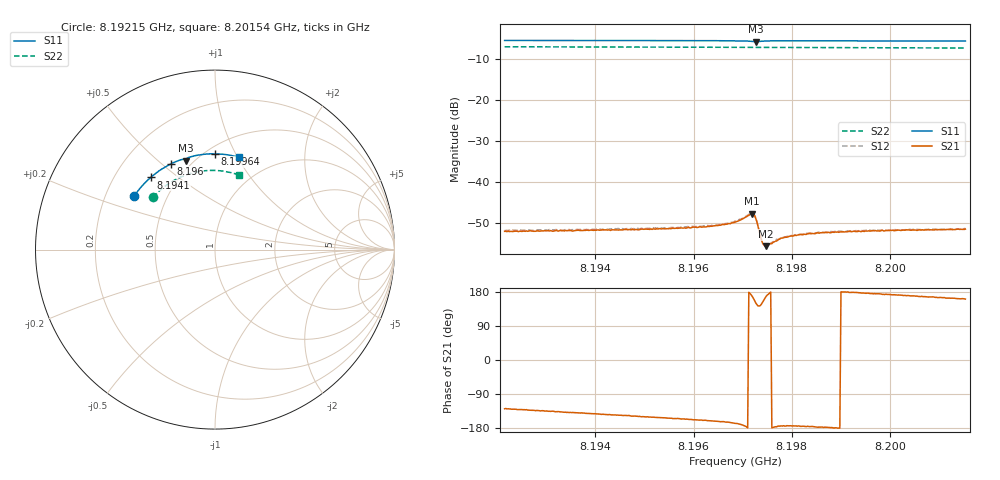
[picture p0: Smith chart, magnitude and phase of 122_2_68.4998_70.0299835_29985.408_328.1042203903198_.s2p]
#  HZ  S  RI  R  50.00
! Rohde & Schwarz Vector Network Analyzer
! Rohde-Schwarz,ZNB20-2Port,1311601062101988,3.16
! Created: UTC 3/20/2024, 4:54:01 PM
! freq[Hz]  re:S11  im:S11  re:S21  im:S21  re:S12  im:S12  re:S22  im:S22
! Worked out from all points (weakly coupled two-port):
!   401 points, 8.19215 GHz to 8.20154 GHz, reference 50 ohm
!   highest |S21| = -47.80 dB at 8.1972 GHz (marker M1); lowest = -55.7 dB at 8.19748 GHz (marker M2)
!   lowest |S11| = -5.7 dB at 8.19727 GHz (marker M3), VSWR 3.18, Z = 22.9 + j31.1 ohm
!   |S11| at or under -10 dB: nowhere
!   |S22| runs from -7.2 to -6.9 dB; largest |S21 - S12| = 0.00022
!   S11 on the Smith chart (normalised r, x): 8.19215 GHz: 0.32, +0.27; 8.1941 GHz: 0.35, +0.40; 8.196 GHz: 0.40, +0.54; 8.19964 GHz: 0.56, +0.83; 8.20154 GHz: 0.70, +1.01
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8.192148e9  -0.449 0.2997  -0.00155 -0.00194  -0.0016 -0.00197  -0.346 0.2907
8.193721e9  -0.3777 0.3845  -0.00193 -0.00166  -0.00208 -0.00163  -0.2821 0.3501
8.194097e9  -0.3584 0.4022  -0.00204 -0.00155  -0.00216 -0.00153  -0.2653 0.3625
8.195295e9  -0.2904 0.4526  -0.00236 -0.00126  -0.00243 -0.00119  -0.2075 0.3964
8.195999e9  -0.2467 0.477  -0.0026 -0.00106  -0.00267 -0.000995  -0.1715 0.412
8.196492e9  -0.2142 0.4916  -0.00277 -0.000908  -0.00288 -0.000836  -0.1454 0.4212
8.196845e9  -0.1892 0.5006  -0.00313 -0.00071  -0.00326 -0.000618  -0.1263 0.4267
8.197009e9  -0.1762 0.5033  -0.00352 -0.000486  -0.00357 -0.000329  -0.1175 0.4289
8.197126e9  -0.1659 0.5028  -0.00389 9.31e-05  -0.004 0.000243  -0.1108 0.4302
8.197197e9  -0.1608 0.4996  -0.00398 0.000866  -0.00396 0.00104  -0.107 0.4311
8.197244e9  -0.1601 0.4967  -0.00355 0.00151  -0.00353 0.00169  -0.1044 0.4315
8.197267e9  -0.1609 0.4958  -0.00311 0.00175  -0.00311 0.00191  -0.1033 0.4318
8.197291e9  -0.162 0.4959  -0.00269 0.0018  -0.00268 0.00194  -0.1021 0.432
8.197385e9  -0.1625 0.5024  -0.00163 0.00103  -0.00163 0.00107  -0.097 0.4331
8.197432e9  -0.1598 0.5059  -0.00156 0.000643  -0.00157 0.000687  -0.0943 0.4337
8.197479e9  -0.1567 0.5085  -0.0016 0.000341  -0.0016 0.000425  -0.0918 0.4343
8.197831e9  -0.13 0.519  -0.00205 -0.000237  -0.0021 -0.000138  -0.0721 0.4374
8.198113e9  -0.1096 0.5238  -0.00222 -0.000201  -0.00225 -0.000153  -0.0564 0.4392
8.198418e9  -0.0879 0.5275  -0.00233 -0.000187  -0.00237 -6.37e-05  -0.0391 0.4406
8.199639e9  -0.00144 0.5338  -0.00251 0.000194  -0.00252 0.000317  0.03 0.4389
8.199991e9  0.0237 0.5328  -0.00251 0.000307  -0.00253 0.000448  0.0498 0.4366
8.201541e9  0.1315 0.5149  -0.0025 0.000869  -0.00251 0.000981  0.1352 0.4151
